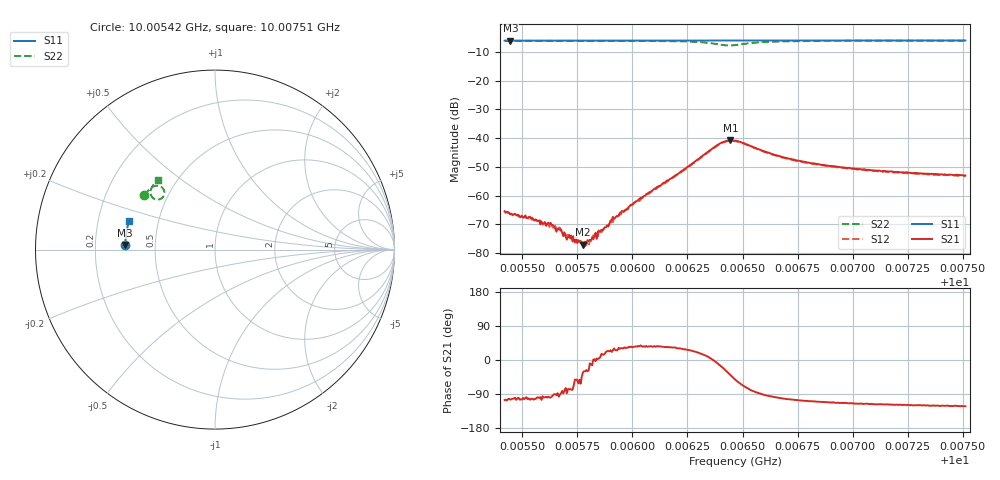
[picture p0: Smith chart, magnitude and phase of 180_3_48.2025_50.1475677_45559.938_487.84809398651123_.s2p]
#  HZ  S  RI  R  50.00
! Rohde & Schwarz Vector Network Analyzer
! Rohde-Schwarz,ZNB20-2Port,1311601062101988,3.16
! Created: UTC 3/20/2024, 11:44:06 AM
! freq[Hz]  re:S11  im:S11  re:S21  im:S21  re:S12  im:S12  re:S22  im:S22
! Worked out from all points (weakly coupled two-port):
!   401 points, 10.00542 GHz to 10.00751 GHz, reference 50 ohm
!   highest |S21| = -40.74 dB at 10.00644 GHz (marker M1); lowest = -77.1 dB at 10.00578 GHz (marker M2)
!   lowest |S11| = -6.0 dB at 10.00545 GHz (marker M3), VSWR 3.00, Z = 16.7 + j1.18 ohm
!   |S11| at or under -10 dB: nowhere
!   |S22| runs from -7.7 to -6.0 dB; largest |S21 - S12| = 0.00053
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1.0005419e10  -0.4998 0.0248  -0.000143 -0.000513  -8.69e-05 -0.000481  -0.3932 0.3027
1.0005446e10  -0.4997 0.0265  -0.000119 -0.000454  -8.06e-05 -0.000472  -0.3922 0.3044
1.0005535e10  -0.4996 0.0323  -0.000109 -0.000414  -4.32e-05 -0.000407  -0.3883 0.3097
1.0005571e10  -0.4996 0.0347  -5.24e-05 -0.000354  -3.23e-05 -0.000353  -0.3866 0.3117
1.0005629e10  -0.4994 0.0385  -5.11e-05 -0.00033  -1.93e-06 -0.000298  -0.3841 0.3154
1.0005676e10  -0.4991 0.0415  9.44e-06 -0.000256  2.66e-05 -0.000237  -0.3818 0.3183
1.0005697e10  -0.4991 0.043  5.3e-05 -0.000186  3.62e-05 -0.000195  -0.3807 0.3195
1.000577e10  -0.499 0.0477  0.000113 -0.000108  9.28e-05 -0.000105  -0.3768 0.3241
1.0005775e10  -0.4989 0.048  0.000118 -7.58e-05  0.000109 -9.02e-05  -0.3766 0.3244
1.0005791e10  -0.4988 0.049  0.000126 -6.27e-05  0.000138 -5.49e-05  -0.3757 0.3255
1.0005807e10  -0.4986 0.0502  0.000167 -2.58e-05  0.000158 -4.79e-05  -0.3749 0.3263
1.0005843e10  -0.4985 0.0524  0.000237 9.81e-06  0.00019 1.38e-05  -0.3727 0.3286
1.0005901e10  -0.4982 0.0561  0.000331 0.00016  0.00027 0.000144  -0.3692 0.3326
1.0005927e10  -0.4979 0.0578  0.000393 0.000188  0.000369 0.000217  -0.3674 0.3343
1.0006121e10  -0.4968 0.0704  0.00119 0.000858  0.00113 0.000876  -0.3503 0.3482
1.0006382e10  -0.494 0.0873  0.00735 -0.000859  0.00724 -0.000446  -0.2842 0.3305
1.0006445e10  -0.4933 0.0907  0.00704 -0.0059  0.00718 -0.00542  -0.2964 0.2867
1.0006466e10  -0.4932 0.0918  0.00566 -0.00708  0.0059 -0.00662  -0.311 0.2793
1.0006649e10  -0.492 0.1035  -0.000716 -0.00505  -0.000477 -0.00498  -0.3596 0.3218
1.0006816e10  -0.49 0.1141  -0.00117 -0.00344  -0.000999 -0.00345  -0.3528 0.3456
1.0007167e10  -0.4852 0.1365  -0.00121 -0.00232  -0.00108 -0.00235  -0.334 0.3717
1.0007512e10  -0.4792 0.1578  -0.00119 -0.0019  -0.00108 -0.00195  -0.3161 0.3901
